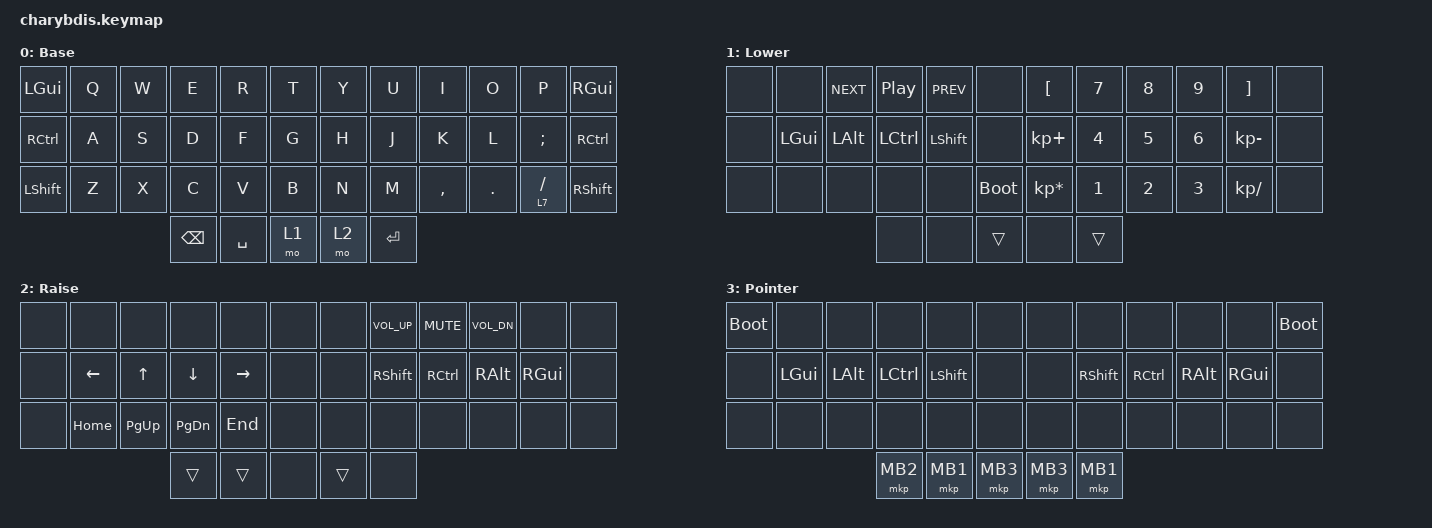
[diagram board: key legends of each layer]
#include <behaviors.dtsi>
#include <dt-bindings/zmk/keys.h>
#include <dt-bindings/zmk/bt.h>
#include <dt-bindings/zmk/mouse.h>

/ {
    trackball_listener {
        compatible = "zmk,input-listener";
        device = <&trackball_split>;

        snipe {
            layers = <Pointer>;
            input-processors = <&zip_xy_scaler 1 3>;
        };

        scroll {
            layers = <Raise>;
            input-processors = <&zip_xy_scaler 1 3>, <&zip_xy_to_scroll_mapper>, <&zip_scroll_transform (INPUT_TRANSFORM_Y_INVERT)>;
        };
    };

    keymap {
        compatible = "zmk,keymap";

        Base {
            bindings = <
            &kp LGUI    &kp Q   &kp W   &kp E       &kp R       &kp T           &kp Y     &kp U       &kp I     &kp O       &kp P   &kp RGUI               
            &kp RCTRL   &kp A   &kp S   &kp D       &kp F       &kp G           &kp H     &kp J       &kp K     &kp L    &kp SEMI  &kp RCTRL
            &kp LSHIFT  &kp Z   &kp X   &kp C       &kp V       &kp B           &kp N     &kp M   &kp COMMA   &kp DOT &lt 7 SLASH &kp RSHIFT
                                        &kp BSPC    &kp SPACE   &mo 1           &mo 2   &kp RET
            >;
        };

        Lower {
            bindings = <
            &none    &none      &kp C_NEXT  &kp C_PP    &kp C_PREV  &none                      &kp LBKT     &kp N7  &kp N8  &kp N9      &kp RBKT    &none
            &none    &kp LGUI   &kp LALT    &kp LCTRL   &kp LSHIFT  &none                   &kp KP_PLUS     &kp N4  &kp N5  &kp N6  &kp KP_MINUS    &none
            &none    &none      &none       &none       &none       &bootloader         &kp KP_MULTIPLY     &kp N1  &kp N2  &kp N3  &kp KP_SLASH    &none
                                            &none       &none       &trans                        &none     &trans
            >;
        };

        Raise {
            bindings = <
            &none    &none      &none       &none       &none       &none            &none  &kp C_VOL_UP    &kp C_MUTE  &kp C_VOL_DN       &none    &none
            &none    &kp LEFT   &kp UP      &kp DOWN    &kp RIGHT   &none            &none    &kp RSHIFT     &kp RCTRL      &kp RALT    &kp RGUI    &none
            &none    &kp HOME   &kp PG_UP   &kp PG_DN   &kp END     &none            &none         &none         &none         &none       &none    &none
                                            &trans      &trans      &none           &trans         &none
            >;
        };

        Pointer {
            bindings = <
            &bootloader &none       &none       &none       &none       &none              &none        &none      &none      &none       &none    &bootloader
            &none       &kp LGUI    &kp LALT    &kp LCTRL   &kp LSHIFT  &none              &none   &kp RSHIFT  &kp RCTRL   &kp RALT    &kp RGUI          &none
            &none       &none       &none       &none       &none       &none              &none        &none      &none      &none       &none          &none
                                    &mkp MB2    &mkp MB1    &mkp MB3                    &mkp MB3     &mkp MB1
            >;
        };
    };
};
